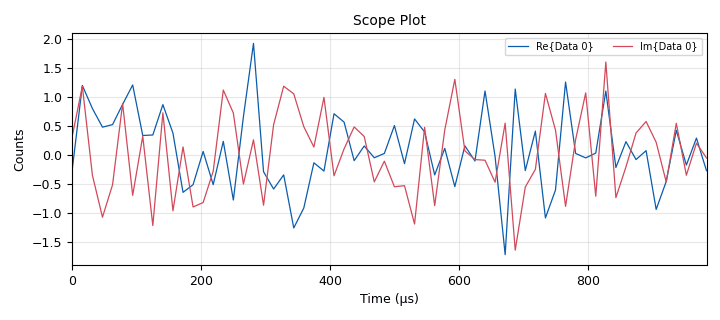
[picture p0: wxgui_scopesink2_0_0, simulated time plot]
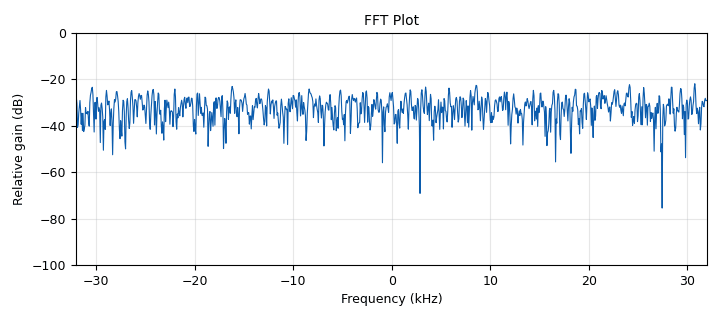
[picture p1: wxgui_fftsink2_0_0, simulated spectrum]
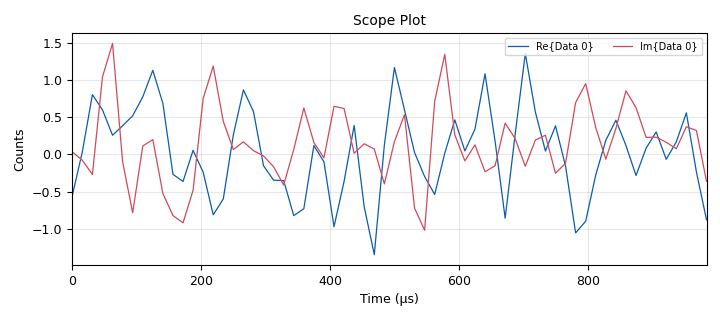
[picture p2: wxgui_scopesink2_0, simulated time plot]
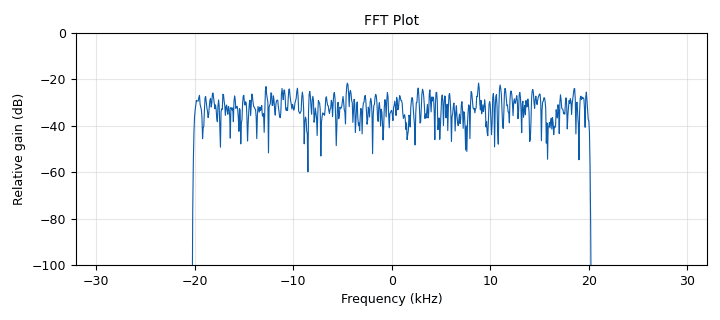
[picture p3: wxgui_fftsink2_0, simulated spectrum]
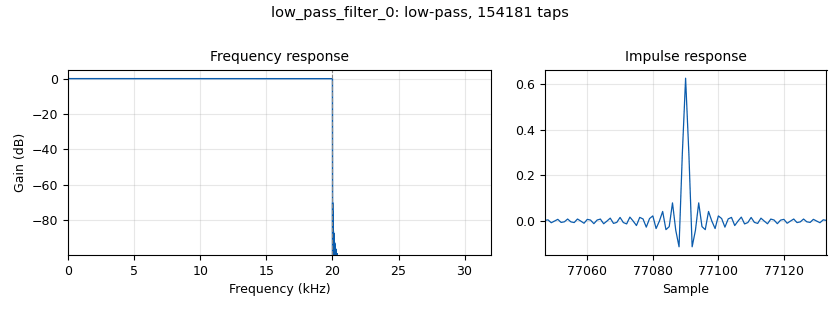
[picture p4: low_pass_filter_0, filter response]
<?xml version='1.0' encoding='utf-8'?>
<flow_graph>
<block>
<key>options</key>
<param><key>id</key><value>top_block</value></param>
<param><key>generate_options</key><value>wx_gui</value></param>
<param><key>category</key><value>Custom</value></param>
</block>
<block>
<key>variable</key>
<param><key>id</key><value>samp_rate</value></param>
<param><key>value</key><value>64000</value></param>
</block>
<block>
<key>low_pass_filter</key>
<param><key>id</key><value>low_pass_filter_0</value></param>
<param><key>type</key><value>fir_filter_ccf</value></param>
<param><key>decim</key><value>1</value></param>
<param><key>gain</key><value>1</value></param>
<param><key>samp_rate</key><value>samp_rate</value></param>
<param><key>cutoff_freq</key><value>20000</value></param>
<param><key>width</key><value>1</value></param>
<param><key>win</key><value>firdes.WIN_HAMMING</value></param>
</block>
<block>
<key>wxgui_scopesink2</key>
<param><key>id</key><value>wxgui_scopesink2_0_0</value></param>
<param><key>type</key><value>complex</value></param>
<param><key>title</key><value>Scope Plot</value></param>
<param><key>samp_rate</key><value>samp_rate</value></param>
<param><key>v_scale</key><value>0</value></param>
<param><key>v_offset</key><value>0</value></param>
<param><key>t_scale</key><value>0</value></param>
<param><key>ac_couple</key><value>False</value></param>
<param><key>xy_mode</key><value>False</value></param>
<param><key>num_inputs</key><value>1</value></param>
<param><key>notebook</key><value>note,0</value></param>
<param><key>trig_mode</key><value>wxgui.TRIG_MODE_AUTO</value></param>
<param><key>y_axis_label</key><value>Counts</value></param>
</block>
<block>
<key>analog_noise_source_x</key>
<param><key>id</key><value>analog_noise_source_x_0</value></param>
<param><key>type</key><value>complex</value></param>
<param><key>noise_type</key><value>analog.GR_GAUSSIAN</value></param>
<param><key>amp</key><value>1</value></param>
<param><key>seed</key><value>0</value></param>
</block>
<block>
<key>wxgui_fftsink2</key>
<param><key>id</key><value>wxgui_fftsink2_0_0</value></param>
<param><key>type</key><value>complex</value></param>
<param><key>title</key><value>FFT Plot</value></param>
<param><key>samp_rate</key><value>samp_rate</value></param>
<param><key>baseband_freq</key><value>0</value></param>
<param><key>y_per_div</key><value>10</value></param>
<param><key>y_divs</key><value>10</value></param>
<param><key>ref_level</key><value>0</value></param>
<param><key>ref_scale</key><value>2.0</value></param>
<param><key>fft_size</key><value>1024</value></param>
<param><key>fft_rate</key><value>15</value></param>
<param><key>peak_hold</key><value>False</value></param>
<param><key>average</key><value>False</value></param>
<param><key>avg_alpha</key><value>0</value></param>
<param><key>win</key><value>None</value></param>
<param><key>notebook</key><value>note,1</value></param>
<param><key>freqvar</key><value>None</value></param>
</block>
<block>
<key>blocks_throttle</key>
<param><key>id</key><value>blocks_throttle_0</value></param>
<param><key>type</key><value>complex</value></param>
<param><key>samples_per_second</key><value>samp_rate</value></param>
</block>
<block>
<key>notebook</key>
<param><key>id</key><value>note</value></param>
<param><key>style</key><value>wx.NB_TOP</value></param>
<param><key>labels</key><value>['Original Noise','Original Noise FFT', 'Message Signal','Message Signal FFT']</value></param>
</block>
<block>
<key>wxgui_scopesink2</key>
<param><key>id</key><value>wxgui_scopesink2_0</value></param>
<param><key>type</key><value>complex</value></param>
<param><key>title</key><value>Scope Plot</value></param>
<param><key>samp_rate</key><value>samp_rate</value></param>
<param><key>v_scale</key><value>0</value></param>
<param><key>v_offset</key><value>0</value></param>
<param><key>t_scale</key><value>0</value></param>
<param><key>ac_couple</key><value>False</value></param>
<param><key>xy_mode</key><value>False</value></param>
<param><key>num_inputs</key><value>1</value></param>
<param><key>notebook</key><value>note,2</value></param>
<param><key>trig_mode</key><value>wxgui.TRIG_MODE_AUTO</value></param>
<param><key>y_axis_label</key><value>Counts</value></param>
</block>
<block>
<key>wxgui_fftsink2</key>
<param><key>id</key><value>wxgui_fftsink2_0</value></param>
<param><key>type</key><value>complex</value></param>
<param><key>title</key><value>FFT Plot</value></param>
<param><key>samp_rate</key><value>samp_rate</value></param>
<param><key>baseband_freq</key><value>0</value></param>
<param><key>y_per_div</key><value>10</value></param>
<param><key>y_divs</key><value>10</value></param>
<param><key>ref_level</key><value>0</value></param>
<param><key>ref_scale</key><value>2.0</value></param>
<param><key>fft_size</key><value>1024</value></param>
<param><key>fft_rate</key><value>15</value></param>
<param><key>peak_hold</key><value>False</value></param>
<param><key>average</key><value>False</value></param>
<param><key>avg_alpha</key><value>0</value></param>
<param><key>win</key><value>None</value></param>
<param><key>notebook</key><value>note,3</value></param>
<param><key>freqvar</key><value>None</value></param>
</block>
<connection><source_block_id>analog_noise_source_x_0</source_block_id><sink_block_id>low_pass_filter_0</sink_block_id><source_key>0</source_key><sink_key>0</sink_key></connection>
<connection><source_block_id>low_pass_filter_0</source_block_id><sink_block_id>blocks_throttle_0</sink_block_id><source_key>0</source_key><sink_key>0</sink_key></connection>
<connection><source_block_id>blocks_throttle_0</source_block_id><sink_block_id>wxgui_scopesink2_0</sink_block_id><source_key>0</source_key><sink_key>0</sink_key></connection>
<connection><source_block_id>blocks_throttle_0</source_block_id><sink_block_id>wxgui_fftsink2_0</sink_block_id><source_key>0</source_key><sink_key>0</sink_key></connection>
<connection><source_block_id>analog_noise_source_x_0</source_block_id><sink_block_id>wxgui_scopesink2_0_0</sink_block_id><source_key>0</source_key><sink_key>0</sink_key></connection>
<connection><source_block_id>analog_noise_source_x_0</source_block_id><sink_block_id>wxgui_fftsink2_0_0</sink_block_id><source_key>0</source_key><sink_key>0</sink_key></connection>
</flow_graph>
